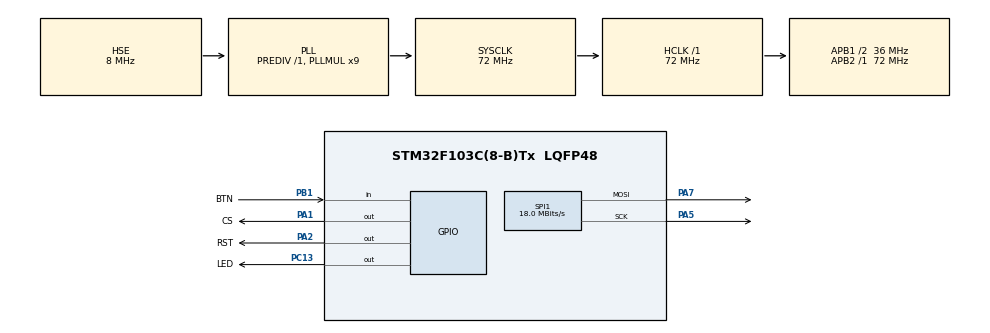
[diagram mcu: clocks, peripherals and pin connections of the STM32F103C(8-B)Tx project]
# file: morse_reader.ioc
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Dma.Request0=SPI1_TX
Dma.SPI1_TX.0.Direction=DMA_MEMORY_TO_PERIPH
Dma.SPI1_TX.0.Instance=DMA1_Channel3
Dma.SPI1_TX.0.MemDataAlignment=DMA_MDATAALIGN_BYTE
Dma.SPI1_TX.0.MemInc=DMA_MINC_ENABLE
Dma.SPI1_TX.0.Mode=DMA_NORMAL
Dma.SPI1_TX.0.PeriphDataAlignment=DMA_PDATAALIGN_BYTE
Dma.SPI1_TX.0.PeriphInc=DMA_PINC_DISABLE
Dma.SPI1_TX.0.Priority=DMA_PRIORITY_LOW
Mcu.Family=STM32F1
Mcu.Name=STM32F103C(8-B)Tx
Mcu.Package=LQFP48
NVIC.DMA1_Channel3_IRQn=true\:0\:0\:false\:false\:true\:false\:true\:true
NVIC.PriorityGroup=NVIC_PRIORITYGROUP_4
NVIC.SPI1_IRQn=true\:0\:0\:false\:false\:true\:true\:true\:true
NVIC.TIM1_BRK_IRQn=true\:0\:0\:false\:false\:true\:true\:true\:true
NVIC.TIM1_CC_IRQn=true\:0\:0\:false\:false\:true\:true\:true\:true
NVIC.TIM1_TRG_COM_IRQn=true\:0\:0\:false\:false\:true\:true\:true\:true
NVIC.TIM1_UP_IRQn=true\:0\:0\:false\:false\:true\:true\:true\:true
PA1.GPIO_Label=CS
PA1.Signal=GPIO_Output
PA13.Mode=Serial_Wire
PA13.Signal=SYS_JTMS-SWDIO
PA14.Mode=Serial_Wire
PA14.Signal=SYS_JTCK-SWCLK
PA2.GPIO_Label=RST
PA2.Signal=GPIO_Output
PA5.Mode=TX_Only_Simplex_Unidirect_Master
PA5.Signal=SPI1_SCK
PA7.Mode=TX_Only_Simplex_Unidirect_Master
PA7.Signal=SPI1_MOSI
PB1.GPIO_Label=BTN
PB1.GPIO_PuPd=GPIO_PULLUP
PB1.Signal=GPIO_Input
PC13-TAMPER-RTC.GPIO_Label=LED
PC13-TAMPER-RTC.Signal=GPIO_Output
PD0-OSC_IN.Mode=HSE-External-Oscillator
PD0-OSC_IN.Signal=RCC_OSC_IN
PD1-OSC_OUT.Mode=HSE-External-Oscillator
PD1-OSC_OUT.Signal=RCC_OSC_OUT
ProjectManager.HeapSize=0x200
ProjectManager.StackSize=0x400
ProjectManager.TargetToolchain=CMake
RCC.AHBFreq_Value=72000000
RCC.APB1CLKDivider=RCC_HCLK_DIV2
RCC.APB1Freq_Value=36000000
RCC.APB1TimFreq_Value=72000000
RCC.APB2Freq_Value=72000000
RCC.APB2TimFreq_Value=72000000
RCC.HCLKFreq_Value=72000000
RCC.PLLMUL=RCC_PLL_MUL9
RCC.PLLSourceVirtual=RCC_PLLSOURCE_HSE
RCC.SYSCLKFreq_VALUE=72000000
RCC.SYSCLKSource=RCC_SYSCLKSOURCE_PLLCLK
RCC.USBFreq_Value=72000000
SPI1.BaudRatePrescaler=SPI_BAUDRATEPRESCALER_4
SPI1.CLKPhase=SPI_PHASE_2EDGE
SPI1.CLKPolarity=SPI_POLARITY_HIGH
SPI1.CalculateBaudRate=18.0 MBits/s
SPI1.Direction=SPI_DIRECTION_2LINES
SPI1.Mode=SPI_MODE_MASTER
SPI1.VirtualType=VM_MASTER
TIM1.Period=50
TIM1.Prescaler=7200
VP_TIM1_VS_ClockSourceINT.Mode=Internal
board=custom

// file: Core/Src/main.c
/* USER CODE BEGIN Header */
/**
  ******************************************************************************
  * @file           : main.c
  * @brief          : Main program body
  ******************************************************************************
  * @attention
  *
  * Copyright (c) 2024 STMicroelectronics.
  * All rights reserved.
  *
  * This software is licensed under terms that can be found in the LICENSE file
  * in the root directory of this software component.
  * If no LICENSE file comes with this software, it is provided AS-IS.
  *
  ******************************************************************************
  */
/* USER CODE END Header */
#include "main.h"

/* USER CODE BEGIN Includes */

#include "ST7920_lib.h"
#include "logo.h"
#include "morse_decoder.h"
#include "debounce.h"

extern char tx_buffer[128];

/* USER CODE END Includes */

/* USER CODE BEGIN PD */

//If you hold the button longer than this time, it will be a dash, otherwise it will be a dot
#define DOT_MAX_TIME 450

#define CHECK_MSEC    5		//Timer period
#define PRESS_MSEC    50	//Press debounce time
#define RELEASE_MSEC  50	//Release debounce time

//A new character is registered after 1 second of inactivity (200 timer activations).
#define NEW_SYMBOL_CNT	(1000 / CHECK_MSEC)

//A new word after 3 seconds
#define NEW_WORD_CNT	(3000 / CHECK_MSEC)

#define LEFT_MARGIN 1	//How many pixels to indent horizontally in front of the text
#define TOP_MARGIN 1	//How many lines to indent vertically in front of the text

#define DECODED_MAX_LINES 2 //How many lines the decoded text can take up
#define MORSE_MAX_LINES 4	//How many lines the morse text can take up

#define CHARS_PER_LINE 21	//How many characters can be placed in a line

/* USER CODE END PD */

SPI_HandleTypeDef hspi1;
DMA_HandleTypeDef hdma_spi1_tx;

TIM_HandleTypeDef htim1;

/* USER CODE BEGIN PV */

//The character that the user is currently typing
MorseChar_t current_char = {0, 0};

//String with decoded morse text
char decoded_text[CHARS_PER_LINE * DECODED_MAX_LINES + 1] = "\0";	//String with decoded text

//Morse string with dots and dashes
char morse_text[CHARS_PER_LINE * MORSE_MAX_LINES + 1] = "\0";	//String with dots and dashes

//Information about button
Button_t morse_btn;
uint32_t press_time = 0;

//Position of the flashing cursor
uint8_t cursor_x = LEFT_MARGIN;
uint8_t cursor_y = TOP_MARGIN;

bool should_draw = false;

/* USER CODE END PV */

void SystemClock_Config(void);
static void MX_GPIO_Init(void);
static void MX_DMA_Init(void);
static void MX_SPI1_Init(void);
static void MX_TIM1_Init(void);
/* USER CODE BEGIN PFP */

void set_last_char(char* str, char c, size_t max_length) {
	size_t current_length = strlen(str);

	//If the string is full - make it empty
    if (current_length >= max_length - 1) {
        str[0] = '\0';
        current_length = 0;
    }

    str[current_length] = c;
    str[current_length + 1] = '\0';
}

//Check in the timer for a new char/word
void new_char_or_word(uint32_t *char_count, uint32_t *word_count) {

	//Timer expired - record the current character
	if (*char_count != 0 && (--(*char_count) == 0)) {
		char decoded_char = decode_morse_char(&current_char);

		if (decoded_char == '\0') {
			decoded_char = '?';
		}

		set_last_char(decoded_text, decoded_char, sizeof(decoded_text));
		set_last_char(morse_text, ' ', sizeof(morse_text));

		//Reset current char
		current_char = (MorseChar_t){0, 0};

		should_draw = true;
	}

	//Timer expired - add a space
	if (*word_count != 0 && (--(*word_count) == 0)) {
		set_last_char(decoded_text, ' ', sizeof(decoded_text));
		set_last_char(morse_text, ' ', sizeof(morse_text));

		should_draw = true;
	}
}

/* USER CODE END PFP */

int main(void)
{

  /* MCU Configuration--------------------------------------------------------*/

  /* Reset of all peripherals, Initializes the Flash interface and the Systick. */
  HAL_Init();

  /* Configure the system clock */
  SystemClock_Config();

  /* Initialize all configured peripherals */
  MX_GPIO_Init();
  MX_DMA_Init();
  MX_SPI1_Init();
  MX_TIM1_Init();
  /* USER CODE BEGIN 2 */

  __HAL_TIM_CLEAR_FLAG(&htim1, TIM_SR_UIF);

  HAL_Delay(100);
  ST7920_Init();
  ST7920_Graphic_mode(1);

  HAL_GPIO_WritePin(LED_GPIO_Port, LED_Pin, GPIO_PIN_SET);

  draw_logo();

  ST7920_Draw_rectangle_filled(0, 0, 127, 63);
  ST7920_Update();

  init_button(&morse_btn, BTN_GPIO_Port, BTN_Pin, CHECK_MSEC, PRESS_MSEC, RELEASE_MSEC, true);

  //Start a timer with main logic
  HAL_TIM_Base_Start_IT(&htim1);

  /* USER CODE END 2 */

  /* Infinite loop */
  /* USER CODE BEGIN WHILE */
  while (1)
  {
	  static uint32_t last_cursor_draw_time = 0;
	  static bool cursor_state = false;

	  //Draw cursors every 500 ms
	  if (HAL_GetTick() - last_cursor_draw_time >= 500) {
		  last_cursor_draw_time = HAL_GetTick();

		  cursor_state = !cursor_state;

		  if (cursor_state) {
			  for (int i = 0; i < 8; i++) {
				  ST7920_Clean_pixel(cursor_x, cursor_y * 8 + i);
			  }
		  } else {
			  for (int i = 0; i < 8; i++) {
				  ST7920_Draw_pixel(cursor_x, cursor_y * 8 + i);
			  }
		  }

		  ST7920_Update();
	  }

	  if (should_draw) {

		  ST7920_Draw_rectangle_filled(0, 0, 127, 63);

		  cursor_x = LEFT_MARGIN;
		  cursor_y = TOP_MARGIN;

		  uint8_t len = strlen(decoded_text);
		  //Print decoded text
		  for (int i = 0; i < DECODED_MAX_LINES; i++) {
			  if (len <= CHARS_PER_LINE * i) {
				  break;
			  }

			  //Print up to 21 characters per line (move the rest to the next line)
			  uint8_t segment_len = (len >= CHARS_PER_LINE * (i + 1)) ? CHARS_PER_LINE : len - CHARS_PER_LINE * i;
			  strncpy(tx_buffer, decoded_text + (CHARS_PER_LINE * i), segment_len);
			  tx_buffer[segment_len] = '\0';
			  ST7920_Decode_UTF8(LEFT_MARGIN, TOP_MARGIN + i, 1, tx_buffer);

			  //Move the cursor position to the position of the next character
			  if (segment_len == CHARS_PER_LINE) {
				  cursor_x = LEFT_MARGIN;
				  cursor_y++;
			  } else {
				  cursor_x = LEFT_MARGIN + (segment_len) * 6;
			  }
		  }

		  len = strlen(morse_text);
		  //Print morse text
		  for (int i = 0; i < MORSE_MAX_LINES; i++) {
			  if (len <= CHARS_PER_LINE * i) {
				  break;
			  }

			  //Print up to 21 characters per line (move the rest to the next line)
			  uint8_t segment_len = (len >= CHARS_PER_LINE * (i + 1)) ? CHARS_PER_LINE : len - CHARS_PER_LINE * i;
			  strncpy(tx_buffer, morse_text + (CHARS_PER_LINE * i), segment_len);
			  tx_buffer[segment_len] = '\0';
			  ST7920_Decode_UTF8(LEFT_MARGIN, TOP_MARGIN + 2 + i, 1, tx_buffer);
		  }

		  ST7920_Update();

		  should_draw = false;
	  }

    /* USER CODE END WHILE */

	  }
}

void SystemClock_Config(void)
{
  RCC_OscInitTypeDef RCC_OscInitStruct = {0};
  RCC_ClkInitTypeDef RCC_ClkInitStruct = {0};

  /** Initializes the RCC Oscillators according to the specified parameters
  * in the RCC_OscInitTypeDef structure.
  */
  RCC_OscInitStruct.OscillatorType = RCC_OSCILLATORTYPE_HSE;
  RCC_OscInitStruct.HSEState = RCC_HSE_ON;
  RCC_OscInitStruct.HSEPredivValue = RCC_HSE_PREDIV_DIV1;
  RCC_OscInitStruct.HSIState = RCC_HSI_ON;
  RCC_OscInitStruct.PLL.PLLState = RCC_PLL_ON;
  RCC_OscInitStruct.PLL.PLLSource = RCC_PLLSOURCE_HSE;
  RCC_OscInitStruct.PLL.PLLMUL = RCC_PLL_MUL9;
  if (HAL_RCC_OscConfig(&RCC_OscInitStruct) != HAL_OK)
  {
    Error_Handler();
  }

  /** Initializes the CPU, AHB and APB buses clocks
  */
  RCC_ClkInitStruct.ClockType = RCC_CLOCKTYPE_HCLK|RCC_CLOCKTYPE_SYSCLK
                              |RCC_CLOCKTYPE_PCLK1|RCC_CLOCKTYPE_PCLK2;
  RCC_ClkInitStruct.SYSCLKSource = RCC_SYSCLKSOURCE_PLLCLK;
  RCC_ClkInitStruct.AHBCLKDivider = RCC_SYSCLK_DIV1;
  RCC_ClkInitStruct.APB1CLKDivider = RCC_HCLK_DIV2;
  RCC_ClkInitStruct.APB2CLKDivider = RCC_HCLK_DIV1;

  if (HAL_RCC_ClockConfig(&RCC_ClkInitStruct, FLASH_LATENCY_2) != HAL_OK)
  {
    Error_Handler();
  }
}

static void MX_SPI1_Init(void)
{

  /* SPI1 parameter configuration*/
  hspi1.Instance = SPI1;
  hspi1.Init.Mode = SPI_MODE_MASTER;
  hspi1.Init.Direction = SPI_DIRECTION_2LINES;
  hspi1.Init.DataSize = SPI_DATASIZE_8BIT;
  hspi1.Init.CLKPolarity = SPI_POLARITY_HIGH;
  hspi1.Init.CLKPhase = SPI_PHASE_2EDGE;
  hspi1.Init.NSS = SPI_NSS_SOFT;
  hspi1.Init.BaudRatePrescaler = SPI_BAUDRATEPRESCALER_4;
  hspi1.Init.FirstBit = SPI_FIRSTBIT_MSB;
  hspi1.Init.TIMode = SPI_TIMODE_DISABLE;
  hspi1.Init.CRCCalculation = SPI_CRCCALCULATION_DISABLE;
  hspi1.Init.CRCPolynomial = 10;
  if (HAL_SPI_Init(&hspi1) != HAL_OK)
  {
    Error_Handler();
  }

}

static void MX_TIM1_Init(void)
{

  TIM_ClockConfigTypeDef sClockSourceConfig = {0};
  TIM_MasterConfigTypeDef sMasterConfig = {0};

  htim1.Instance = TIM1;
  htim1.Init.Prescaler = 7200;
  htim1.Init.CounterMode = TIM_COUNTERMODE_UP;
  htim1.Init.Period = 50;
  htim1.Init.ClockDivision = TIM_CLOCKDIVISION_DIV1;
  htim1.Init.RepetitionCounter = 0;
  htim1.Init.AutoReloadPreload = TIM_AUTORELOAD_PRELOAD_DISABLE;
  if (HAL_TIM_Base_Init(&htim1) != HAL_OK)
  {
    Error_Handler();
  }
  sClockSourceConfig.ClockSource = TIM_CLOCKSOURCE_INTERNAL;
  if (HAL_TIM_ConfigClockSource(&htim1, &sClockSourceConfig) != HAL_OK)
  {
    Error_Handler();
  }
  sMasterConfig.MasterOutputTrigger = TIM_TRGO_RESET;
  sMasterConfig.MasterSlaveMode = TIM_MASTERSLAVEMODE_DISABLE;
  if (HAL_TIMEx_MasterConfigSynchronization(&htim1, &sMasterConfig) != HAL_OK)
  {
    Error_Handler();
  }

}

static void MX_DMA_Init(void)
{

  /* DMA controller clock enable */
  __HAL_RCC_DMA1_CLK_ENABLE();

  /* DMA interrupt init */
  /* DMA1_Channel3_IRQn interrupt configuration */
  HAL_NVIC_SetPriority(DMA1_Channel3_IRQn, 0, 0);
  HAL_NVIC_EnableIRQ(DMA1_Channel3_IRQn);

}

static void MX_GPIO_Init(void)
{
  GPIO_InitTypeDef GPIO_InitStruct = {0};

  /* GPIO Ports Clock Enable */
  __HAL_RCC_GPIOC_CLK_ENABLE();
  __HAL_RCC_GPIOD_CLK_ENABLE();
  __HAL_RCC_GPIOA_CLK_ENABLE();
  __HAL_RCC_GPIOB_CLK_ENABLE();

  /*Configure GPIO pin Output Level */
  HAL_GPIO_WritePin(LED_GPIO_Port, LED_Pin, GPIO_PIN_RESET);

  /*Configure GPIO pin Output Level */
  HAL_GPIO_WritePin(GPIOA, CS_Pin|RST_Pin, GPIO_PIN_RESET);

  /*Configure GPIO pin : LED_Pin */
  GPIO_InitStruct.Pin = LED_Pin;
  GPIO_InitStruct.Mode = GPIO_MODE_OUTPUT_PP;
  GPIO_InitStruct.Pull = GPIO_NOPULL;
  GPIO_InitStruct.Speed = GPIO_SPEED_FREQ_LOW;
  HAL_GPIO_Init(LED_GPIO_Port, &GPIO_InitStruct);

  /*Configure GPIO pins : CS_Pin RST_Pin */
  GPIO_InitStruct.Pin = CS_Pin|RST_Pin;
  GPIO_InitStruct.Mode = GPIO_MODE_OUTPUT_PP;
  GPIO_InitStruct.Pull = GPIO_NOPULL;
  GPIO_InitStruct.Speed = GPIO_SPEED_FREQ_LOW;
  HAL_GPIO_Init(GPIOA, &GPIO_InitStruct);

  /*Configure GPIO pin : BTN_Pin */
  GPIO_InitStruct.Pin = BTN_Pin;
  GPIO_InitStruct.Mode = GPIO_MODE_INPUT;
  GPIO_InitStruct.Pull = GPIO_PULLUP;
  HAL_GPIO_Init(BTN_GPIO_Port, &GPIO_InitStruct);

}

/* USER CODE BEGIN 4 */

void HAL_TIM_PeriodElapsedCallback(TIM_HandleTypeDef *htim)
{
    if (htim->Instance == TIM1) {

    	//Get debounced data
        bool key_changed = false;
        bool key_pressed = false;
        debounce_button(&morse_btn, &key_changed, &key_pressed);

        //Set the timer for new word or character
        static uint32_t char_count = 0;
        static uint32_t word_count = 0;
        new_char_or_word(&char_count, &word_count);

        if (key_changed) {
        	key_changed = false;

			if (key_pressed) {
				HAL_GPIO_WritePin(LED_GPIO_Port, LED_Pin, GPIO_PIN_RESET);
				press_time = HAL_GetTick() - PRESS_MSEC;

				char_count = 0;
				word_count = 0;
			} else {
				HAL_GPIO_WritePin(LED_GPIO_Port, LED_Pin, GPIO_PIN_SET);

				//Hold the button longer than DOT_MAX_TIME: dash
				if (HAL_GetTick() - RELEASE_MSEC - press_time >= DOT_MAX_TIME) {
					add_unit(&current_char, true);
					set_last_char(morse_text, '-', sizeof(morse_text));
				} else { //less than DOT_MAX_TIME: dot
					add_unit(&current_char, false);
					set_last_char(morse_text, '.', sizeof(morse_text));
				}

				should_draw = true;

				//Reset the timer for a new character or word
				char_count = NEW_SYMBOL_CNT;
				word_count = NEW_WORD_CNT;
			}
        }
    }
}

/* USER CODE END 4 */

void Error_Handler(void)
{
  __disable_irq();
  while (1)
  {
  }
}
